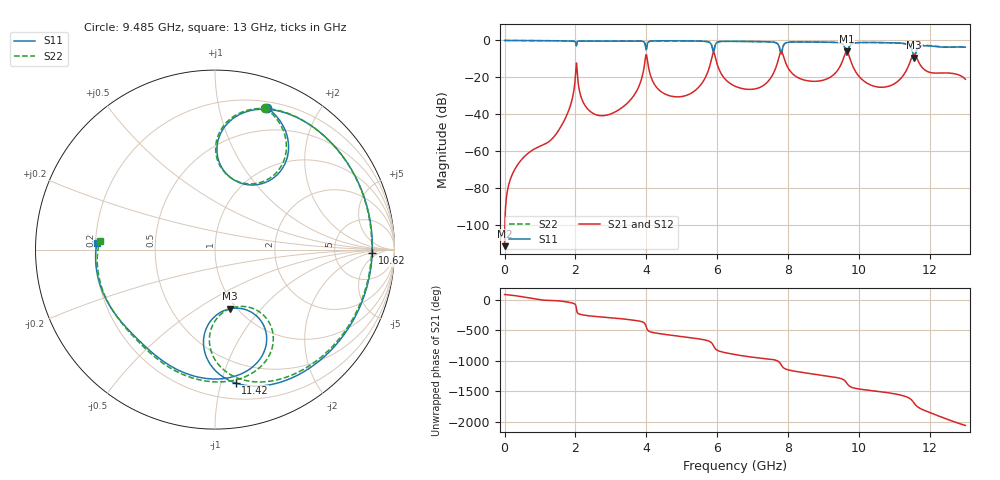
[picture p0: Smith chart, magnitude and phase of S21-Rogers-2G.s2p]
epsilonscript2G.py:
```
import skrf as rf
import matplotlib.pyplot as plt
import numpy as np
from scipy.signal import find_peaks

# Parámetros físicos del resonador a 2GHZ para ROGERS4350B
R_rogers = 14.1397557488998e-3             # Radio para 2GHZ
L_rogers = 2 * np.pi * R_rogers # longitud del anillo
c = 3e8                         # Velocidad de la luz en vacio en m/s
H_rogers = 1.524e-3             # Altura del sustrato 
w_rogers = 3.309e-3             # Ancho de las pistas en metros (ejemplo 3 mm)

# Parámetros físicos del resonador a 2GHZ para FR4
R_fr4 = 13.2426887556298e-3                # Radio para 2GHZ
L_fr4 = 2 * np.pi * R_fr4       # longitud del anillo
c = 3e8                         # Velocidad de la luz en vacio en m/s
H_fr4 = 1.56e-3                 # Altura del sustrato 
w_fr4 = 2.85e-3                 # Ancho de las pistas en metros (ejemplo 3 mm)

# Modos de resonancia --> hasta 12GHZ
n_modos = [1,2,3]

# Array para los epsilon_eff y epsilon_r
epsilon_eff_rogers = np.zeros(3)
epsilon_r_rogers = np.zeros(3)

epsilon_eff_fr4 = np.zeros(3)
epsilon_r_fr4 = np.zeros(3)

# Cargar el archivo .s2p 
ntwk_rogers = rf.Network('S21-Rogers-2G.s2p')
ntwk_fr4 = rf.Network('S21-FR4-2G.s2p')

# Extraer el vector de frecuencias (en Hz)
frecuencias_rogers = ntwk_rogers.f  # En Hz
frecuencias_rogers_GHz = frecuencias_rogers / 1e9  # Opcional: convertir a GHz

frecuencias_fr4 = ntwk_fr4.f  # En Hz
frecuencias_fr4_GHz = frecuencias_fr4 / 1e9        # Opcional: convertir a GHz

# Obtener el parámetro S21 (índice [0,1]) en dB
s21_rogers = ntwk_rogers.s[:, 1, 0]                # Complejo
s21_dB_rogers = 20 * np.log10(np.abs(s21_rogers))  # Módulo en dB

s21_fr4 = ntwk_fr4.s[:, 1, 0]                      # Complejo
s21_dB_fr4 = 20 * np.log10(np.abs(s21_fr4))        # Módulo en dB

# Filtrar hasta 12 GHz (6 picos para fundamental de 2GHZ)
mask = frecuencias_rogers_GHz <= 7
frecuencias_filtradas_rogers = frecuencias_rogers_GHz[mask]
s21_dB_filtrado_rogers = s21_dB_rogers[mask]

mask = frecuencias_fr4_GHz <= 7
frecuencias_filtradas_fr4 = frecuencias_fr4_GHz[mask]
s21_dB_filtrado_fr4 = s21_dB_fr4[mask]

# Detectar picos en el rango filtrado
picos_resonancia_rogers, _ = find_peaks(s21_dB_filtrado_rogers, distance=30, prominence=3)
frecuencias_resonancia_rogers = frecuencias_filtradas_rogers[picos_resonancia_rogers]
frecuencias_resonancia_Hz_rogers = frecuencias_resonancia_rogers * 1e9  # Convertir GHz a Hz

picos_resonancia_fr4, _ = find_peaks(s21_dB_filtrado_fr4, distance=30, prominence=3)
frecuencias_resonancia_fr4 = frecuencias_filtradas_fr4[picos_resonancia_fr4]
frecuencias_resonancia_Hz_fr4 = frecuencias_resonancia_fr4 * 1e9  # Convertir GHz a Hz

# Calcular epsilon efectivo y relativo para cada frecuencia
for i in range(3): # i va de 0 a 5
	epsilon_eff_rogers[i] = (n_modos[i] * c / (2 * np.pi * R_rogers * frecuencias_resonancia_Hz_rogers[i])) ** 2
for i in range(3): # i va de 0 a 5
	epsilon_r_rogers[i] = (2 * epsilon_eff_rogers[i] - (1 - (1 / np.sqrt(1 + 12 * H_rogers / w_rogers)))) / (1 + (1 / np.sqrt(1 + 12 * H_rogers / w_rogers)))

print(frecuencias_resonancia_Hz_rogers)
print(epsilon_r_rogers)

for i in range(3): # i va de 0 a 5
	epsilon_eff_fr4[i] = (n_modos[i] * c / (2 * np.pi * R_fr4 * frecuencias_resonancia_Hz_fr4[i])) ** 2
for i in range(3): # i va de 0 a 5
	epsilon_r_fr4[i] = (2 * epsilon_eff_fr4[i] - (1 - (1 / np.sqrt(1 + 12 * H_fr4 / w_fr4)))) / (1 + (1 / np.sqrt(1 + 12 * H_fr4 / w_fr4)))

print(frecuencias_resonancia_Hz_fr4)
print(epsilon_r_fr4)

# Calcular el promedio de epsilon_r
epsilon_r_promedio_rogers = np.mean(epsilon_r_rogers)
epsilon_r_promedio_fr4 = np.mean(epsilon_r_fr4)

#Grafico
plt.figure()
# Curva ROGERS 4350B
plt.plot(frecuencias_resonancia_rogers, epsilon_r_rogers, color='r', label='εr ROGERS')
plt.axhline(y=epsilon_r_promedio_rogers, color='r', linestyle='--', label=f'Promedio εr ROGERS = {epsilon_r_promedio_rogers:.3f}')
# Curva FR4
plt.plot(frecuencias_resonancia_fr4, epsilon_r_fr4, color='b', label='εr FR4')
plt.axhline(y=epsilon_r_promedio_fr4, color='b', linestyle='--', label=f'Promedio εr FR4 = {epsilon_r_promedio_fr4:.3f}')
# Etiquetas y formato
plt.xlabel('Frecuencias de resonancia(GHz)')
plt.ylabel('εr(f)')
plt.title('ROGERS 4350B vs FR4 a 2GHZ')
plt.grid(True)
plt.ylim(3, 5)
plt.legend(title='Materiales')
plt.tight_layout()
plt.show()
```
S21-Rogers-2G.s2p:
! TOUCHSTONE file generated by CST MICROWAVE STUDIO
! Date and time: Sun Jun 29 16:26:48 2025
! Project name: ResonadorAnillo.cst
! Parameters = {Eeff=2.85062; Er=3.66; H=1.524; L1=22.2107; L2=22.2107; Landa=88.8427; T=0.017; W=3.30928; Wa=3.30928; X=62.4704; Y=62.4704; c=3e+11; f=2e+09; r=14.1398; s=0.3}
! Header version: 2024
! Port assignment regex: !\s*Touchstone port\s*([0-9]+)\s*=\s*(CST MWS port|CST DES external port|CST DES block port)\s*(.+)\s* \(\"(.*)\"\)(\s*mode\s*([0-9]+))?.*
! Touchstone port assignment:
! Touchstone port 1 = CST MWS port 1 ("")
! Touchstone port 2 = CST MWS port 2 ("")
# GHz S DB R 50
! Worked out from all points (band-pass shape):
!   5000 points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, 2.6 MHz to 13 GHz, reference 50 ohm
!   highest |S21| = -5.81 dB at 9.654 GHz (marker M1); lowest = -111.4 dB at 2.6 MHz (marker M2)
!   |S21| within 3 dB of the highest: 7.745 GHz to 7.871 GHz (125.2 MHz wide, 1.6 % of centre); 9.578 GHz to 9.727 GHz (149 MHz wide, 1.54 % of centre)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
!   lowest |S11| = -9.4 dB at 11.56 GHz (marker M3), VSWR 2.03, Z = 46.5 - j34.7 ohm
!   |S11| at or under -10 dB: nowhere
!   |S22| runs from -9.4 to 0.0 dB; largest |S21 - S12| = 1.1e-09
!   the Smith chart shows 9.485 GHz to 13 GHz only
!   S11 on the Smith chart (normalised r, x): 9.485 GHz: 0.26, +1.40; 10.62 GHz: 15, -3; 11.42 GHz: 0.33, -1.11; 13 GHz: 0.21, +0.03
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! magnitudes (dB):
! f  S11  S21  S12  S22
! 2.6 MHz  0.0  -111.4  -111.4  0.0
! 2.028 GHz  -2.9  -12.2  -12.2  -2.8
! 2.717 GHz  -0.4  -40.8  -40.8  -0.4
! 6.503 GHz  -0.5  -24.8  -24.8  -0.5
! 9.485 GHz  -1.5  -13.3  -13.3  -1.5
! 9.654 GHz  -8.0  -5.8  -5.8  -8.0
! 10.62 GHz  -1.1  -25.4  -25.4  -1.2
! 11.42 GHz  -2.5  -12.8  -12.8  -2.8
! 11.56 GHz  -9.4  -7.4  -7.4  -9.2
! 13 GHz  -3.6  -21.0  -21.0  -3.8
! 13 GHz  -3.6  -21.0  -21.0  -3.8
